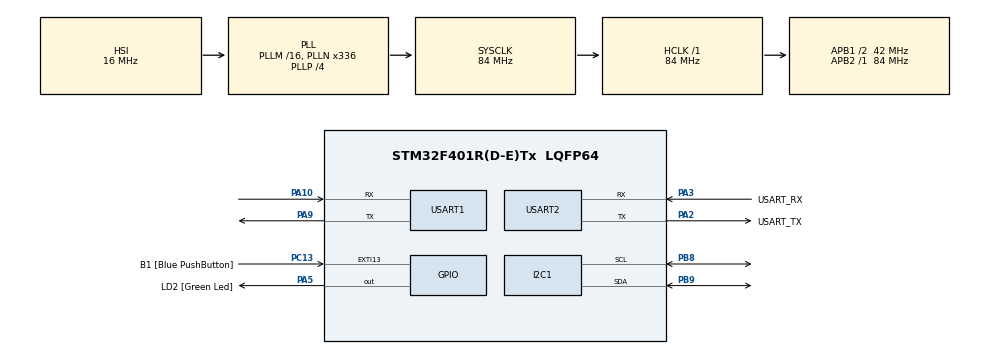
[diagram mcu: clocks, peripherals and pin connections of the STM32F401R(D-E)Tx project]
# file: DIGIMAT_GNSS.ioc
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Mcu.Family=STM32F4
Mcu.Name=STM32F401R(D-E)Tx
Mcu.Package=LQFP64
NVIC.EXTI15_10_IRQn=true\:0\:0\:false\:false\:true\:true\:true\:true
NVIC.PriorityGroup=NVIC_PRIORITYGROUP_0
PA10.Mode=Asynchronous
PA10.Signal=USART1_RX
PA13.GPIO_Label=TMS
PA13.Mode=Serial_Wire
PA13.Signal=SYS_JTMS-SWDIO
PA14.GPIO_Label=TCK
PA14.Mode=Serial_Wire
PA14.Signal=SYS_JTCK-SWCLK
PA2.GPIO_Label=USART_TX
PA2.GPIO_Mode=GPIO_MODE_AF_PP
PA2.GPIO_PuPd=GPIO_NOPULL
PA2.GPIO_Speed=GPIO_SPEED_FREQ_LOW
PA2.Mode=Asynchronous
PA2.Signal=USART2_TX
PA3.GPIO_Label=USART_RX
PA3.GPIO_Mode=GPIO_MODE_AF_PP
PA3.GPIO_PuPd=GPIO_NOPULL
PA3.GPIO_Speed=GPIO_SPEED_FREQ_LOW
PA3.Mode=Asynchronous
PA3.Signal=USART2_RX
PA5.GPIO_Label=LD2 [Green Led]
PA5.GPIO_Mode=GPIO_MODE_OUTPUT_PP
PA5.GPIO_PuPd=GPIO_NOPULL
PA5.GPIO_Speed=GPIO_SPEED_FREQ_LOW
PA5.Signal=GPIO_Output
PA9.Mode=Asynchronous
PA9.Signal=USART1_TX
PB3.GPIO_Label=SWO
PB3.Signal=SYS_JTDO-SWO
PB8.GPIO_Pu=GPIO_NOPULL
PB8.Mode=I2C
PB8.Signal=I2C1_SCL
PB9.GPIO_Pu=GPIO_NOPULL
PB9.Mode=I2C
PB9.Signal=I2C1_SDA
PC13-ANTI_TAMP.GPIO_Label=B1 [Blue PushButton]
PC13-ANTI_TAMP.GPIO_ModeDefaultEXTI=GPIO_MODE_IT_FALLING
PC13-ANTI_TAMP.GPIO_PuPd=GPIO_NOPULL
PC13-ANTI_TAMP.Signal=GPXTI13
PC14-OSC32_IN.Mode=LSE-External-Oscillator
PC14-OSC32_IN.Signal=RCC_OSC32_IN
PC15-OSC32_OUT.Mode=LSE-External-Oscillator
PC15-OSC32_OUT.Signal=RCC_OSC32_OUT
PH0\ -\ OSC_IN.Mode=HSE-External-Clock-Source
PH0\ -\ OSC_IN.Signal=RCC_OSC_IN
PH1\ -\ OSC_OUT.Mode=HSE-External-Clock-Source
PH1\ -\ OSC_OUT.Signal=RCC_OSC_OUT
ProjectManager.HeapSize=0x200
ProjectManager.StackSize=0x400
ProjectManager.TargetToolchain=STM32CubeIDE
RCC.48MHZClocksFreq_Value=48000000
RCC.AHBFreq_Value=84000000
RCC.APB1CLKDivider=RCC_HCLK_DIV2
RCC.APB1Freq_Value=42000000
RCC.APB1TimFreq_Value=84000000
RCC.APB2Freq_Value=84000000
RCC.APB2TimFreq_Value=84000000
RCC.CortexFreq_Value=84000000
RCC.HCLKFreq_Value=84000000
RCC.HSE_VALUE=8000000
RCC.HSI_VALUE=16000000
RCC.PLLN=336
RCC.PLLP=RCC_PLLP_DIV4
RCC.PLLQ=7
RCC.SYSCLKFreq_VALUE=84000000
RCC.SYSCLKSource=RCC_SYSCLKSOURCE_PLLCLK
RCC.VCOOutputFreq_Value=336000000
USART1.VirtualMode=VM_ASYNC
USART2.VirtualMode=VM_ASYNC
board=NUCLEO-F401RE

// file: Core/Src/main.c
/* USER CODE BEGIN Header */
/**
 ******************************************************************************
 * @file           : main.c
 * @brief          : Main program body
 ******************************************************************************
 * @attention
 *
 * Copyright (c) 2023 STMicroelectronics.
 * All rights reserved.
 *
 * This software is licensed under terms that can be found in the LICENSE file
 * in the root directory of this software component.
 * If no LICENSE file comes with this software, it is provided AS-IS.
 *
 ******************************************************************************
 */
/* USER CODE END Header */
#include "main.h"

/* USER CODE BEGIN Includes */
#include <string.h>
/* USER CODE END Includes */

I2C_HandleTypeDef hi2c1;

UART_HandleTypeDef huart1;
UART_HandleTypeDef huart2;

/* USER CODE BEGIN PV */
static const char *gpgll_msg = "$PSTMNMEAREQUEST,100000,0\n\r";
static const char *gpgll_msg_2 = "$PSTMNMEAREQUEST\n\r";
uint8_t read_buf[180];
HAL_StatusTypeDef resp_i2c;
/* USER CODE END PV */

void SystemClock_Config(void);
static void MX_GPIO_Init(void);
static void MX_I2C1_Init(void);
static void MX_USART2_UART_Init(void);
static void MX_USART1_UART_Init(void);

/* USER CODE BEGIN 0 */
void Console_Write(uint8_t *string){
	HAL_UART_Transmit(&huart2, string, strlen((char *)string), 1000);
}
/* USER CODE END 0 */

int main(void)
{

  /* MCU Configuration--------------------------------------------------------*/

  /* Reset of all peripherals, Initializes the Flash interface and the Systick. */
  HAL_Init();

  /* Configure the system clock */
  SystemClock_Config();

  /* Initialize all configured peripherals */
  MX_GPIO_Init();
  MX_I2C1_Init();
  MX_USART2_UART_Init();
  MX_USART1_UART_Init();

  /* Infinite loop */
	while (1)
	{

    /* USER CODE BEGIN 3 */

		HAL_I2C_DeInit(&hi2c1);
		resp_i2c= HAL_I2C_Init(&hi2c1);
		Console_Write ("Sending commands...\r\n");
		HAL_Delay(1000);
		resp_i2c= HAL_I2C_Master_Transmit(&hi2c1, 0x3A, (uint8_t*)gpgll_msg, strlen(gpgll_msg), HAL_MAX_DELAY);
//		resp_i2c= HAL_UART_Transmit(&huart1,(uint8_t*)gpgll_msg, strlen(gpgll_msg), 2000);
		if(resp_i2c!=HAL_BUSY){
			for(read_buf[180-1]=0;read_buf[180-1]!=0xff;){

				resp_i2c= HAL_I2C_Master_Receive(&hi2c1, 0x3A << 1, read_buf, 180, 2000);
//				resp_i2c= HAL_UART_Receive(&huart1, read_buf,180, 2000);
				for(int i=0; i<180; i++)
					if(read_buf[i]!= 0xff) HAL_UART_Transmit(&huart2, &read_buf[i], 1, 1000);

			}

			Console_Write ("\r\n");
		}

	}
  /* USER CODE END 3 */
}

void SystemClock_Config(void)
{
  RCC_OscInitTypeDef RCC_OscInitStruct = {0};
  RCC_ClkInitTypeDef RCC_ClkInitStruct = {0};

  /** Configure the main internal regulator output voltage
  */
  __HAL_RCC_PWR_CLK_ENABLE();
  __HAL_PWR_VOLTAGESCALING_CONFIG(PWR_REGULATOR_VOLTAGE_SCALE2);

  /** Initializes the RCC Oscillators according to the specified parameters
  * in the RCC_OscInitTypeDef structure.
  */
  RCC_OscInitStruct.OscillatorType = RCC_OSCILLATORTYPE_HSI;
  RCC_OscInitStruct.HSIState = RCC_HSI_ON;
  RCC_OscInitStruct.HSICalibrationValue = RCC_HSICALIBRATION_DEFAULT;
  RCC_OscInitStruct.PLL.PLLState = RCC_PLL_ON;
  RCC_OscInitStruct.PLL.PLLSource = RCC_PLLSOURCE_HSI;
  RCC_OscInitStruct.PLL.PLLM = 16;
  RCC_OscInitStruct.PLL.PLLN = 336;
  RCC_OscInitStruct.PLL.PLLP = RCC_PLLP_DIV4;
  RCC_OscInitStruct.PLL.PLLQ = 7;
  if (HAL_RCC_OscConfig(&RCC_OscInitStruct) != HAL_OK)
  {
    Error_Handler();
  }

  /** Initializes the CPU, AHB and APB buses clocks
  */
  RCC_ClkInitStruct.ClockType = RCC_CLOCKTYPE_HCLK|RCC_CLOCKTYPE_SYSCLK
                              |RCC_CLOCKTYPE_PCLK1|RCC_CLOCKTYPE_PCLK2;
  RCC_ClkInitStruct.SYSCLKSource = RCC_SYSCLKSOURCE_PLLCLK;
  RCC_ClkInitStruct.AHBCLKDivider = RCC_SYSCLK_DIV1;
  RCC_ClkInitStruct.APB1CLKDivider = RCC_HCLK_DIV2;
  RCC_ClkInitStruct.APB2CLKDivider = RCC_HCLK_DIV1;

  if (HAL_RCC_ClockConfig(&RCC_ClkInitStruct, FLASH_LATENCY_2) != HAL_OK)
  {
    Error_Handler();
  }
}

static void MX_I2C1_Init(void)
{

  hi2c1.Instance = I2C1;
  hi2c1.Init.ClockSpeed = 100000;
  hi2c1.Init.DutyCycle = I2C_DUTYCYCLE_2;
  hi2c1.Init.OwnAddress1 = 0;
  hi2c1.Init.AddressingMode = I2C_ADDRESSINGMODE_7BIT;
  hi2c1.Init.DualAddressMode = I2C_DUALADDRESS_DISABLE;
  hi2c1.Init.OwnAddress2 = 0;
  hi2c1.Init.GeneralCallMode = I2C_GENERALCALL_DISABLE;
  hi2c1.Init.NoStretchMode = I2C_NOSTRETCH_DISABLE;
  if (HAL_I2C_Init(&hi2c1) != HAL_OK)
  {
    Error_Handler();
  }

}

static void MX_USART1_UART_Init(void)
{

  huart1.Instance = USART1;
  huart1.Init.BaudRate = 115200;
  huart1.Init.WordLength = UART_WORDLENGTH_8B;
  huart1.Init.StopBits = UART_STOPBITS_1;
  huart1.Init.Parity = UART_PARITY_NONE;
  huart1.Init.Mode = UART_MODE_TX_RX;
  huart1.Init.HwFlowCtl = UART_HWCONTROL_NONE;
  huart1.Init.OverSampling = UART_OVERSAMPLING_16;
  if (HAL_UART_Init(&huart1) != HAL_OK)
  {
    Error_Handler();
  }

}

static void MX_USART2_UART_Init(void)
{

  huart2.Instance = USART2;
  huart2.Init.BaudRate = 115200;
  huart2.Init.WordLength = UART_WORDLENGTH_8B;
  huart2.Init.StopBits = UART_STOPBITS_1;
  huart2.Init.Parity = UART_PARITY_NONE;
  huart2.Init.Mode = UART_MODE_TX_RX;
  huart2.Init.HwFlowCtl = UART_HWCONTROL_NONE;
  huart2.Init.OverSampling = UART_OVERSAMPLING_16;
  if (HAL_UART_Init(&huart2) != HAL_OK)
  {
    Error_Handler();
  }

}

static void MX_GPIO_Init(void)
{
  GPIO_InitTypeDef GPIO_InitStruct = {0};

  /* GPIO Ports Clock Enable */
  __HAL_RCC_GPIOC_CLK_ENABLE();
  __HAL_RCC_GPIOH_CLK_ENABLE();
  __HAL_RCC_GPIOA_CLK_ENABLE();
  __HAL_RCC_GPIOB_CLK_ENABLE();

  /*Configure GPIO pin Output Level */
  HAL_GPIO_WritePin(LD2_GPIO_Port, LD2_Pin, GPIO_PIN_RESET);

  /*Configure GPIO pin : B1_Pin */
  GPIO_InitStruct.Pin = B1_Pin;
  GPIO_InitStruct.Mode = GPIO_MODE_IT_FALLING;
  GPIO_InitStruct.Pull = GPIO_NOPULL;
  HAL_GPIO_Init(B1_GPIO_Port, &GPIO_InitStruct);

  /*Configure GPIO pin : LD2_Pin */
  GPIO_InitStruct.Pin = LD2_Pin;
  GPIO_InitStruct.Mode = GPIO_MODE_OUTPUT_PP;
  GPIO_InitStruct.Pull = GPIO_NOPULL;
  GPIO_InitStruct.Speed = GPIO_SPEED_FREQ_LOW;
  HAL_GPIO_Init(LD2_GPIO_Port, &GPIO_InitStruct);

  /* EXTI interrupt init*/
  HAL_NVIC_SetPriority(EXTI15_10_IRQn, 0, 0);
  HAL_NVIC_EnableIRQ(EXTI15_10_IRQn);

}

void Error_Handler(void)
{
	__disable_irq();
	while (1)
	{
	}
}
